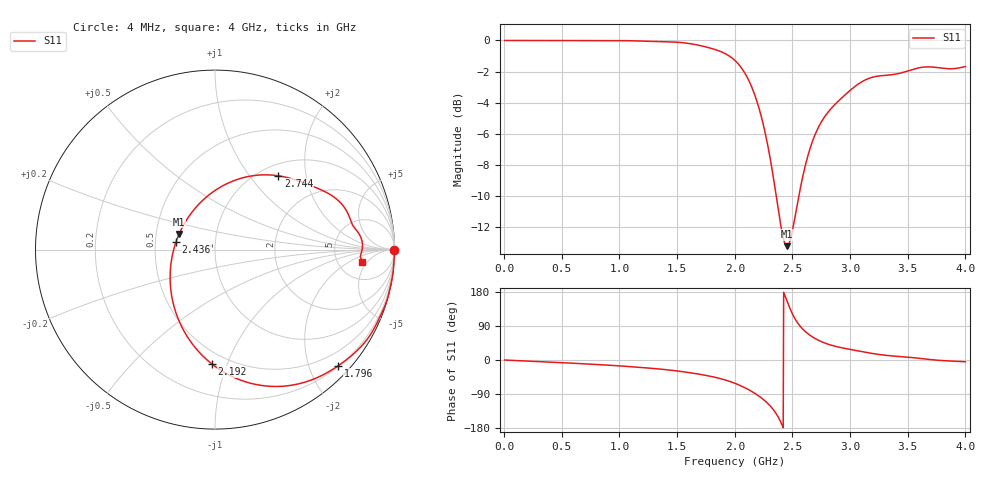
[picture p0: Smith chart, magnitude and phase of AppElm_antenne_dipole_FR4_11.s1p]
! TOUCHSTONE file generated by CST MICROWAVE STUDIO
! Date and time: Thu May 12 17:57:38 2022
! Project name: AppElm_antenne_dipole_FR4.cst
! Parameters = {L=38.8; e=0.035; f=2.45e+09; h=1.6; i=0.8; l1=4; lambda=122.449; ls=30; wl=1.7; ws=100}
! Header version: 2018
! Port assignment regex: !\s*Touchstone port\s*([0-9]+)\s*=\s*(CST MWS port|CST DS port)\s*([0-9]+|Zmin|Zmax)\s*\(\"(.*)\"\)(\s*mode\s*([0-9]+))?.*
! Touchstone port assignment:
! Touchstone port 1 = CST MWS port 1 ("")
# GHz S MA R 50
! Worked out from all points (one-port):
!   1000 points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, 4 MHz to 4 GHz, reference 50 ohm
!   lowest |S11| = -13.2 dB at 2.452 GHz (marker M1), VSWR 1.56, Z = 32.9 + j5.97 ohm
!   |S11| at or under -10 dB: 2.36 GHz to 2.556 GHz (196.2 MHz wide, 7.98 % of centre)
!   S11 on the Smith chart (normalised r, x): 4 MHz: open; 1.796 GHz: 0.21, -2.49; 2.192 GHz: 0.41, -0.88; 2.436 GHz: 0.64, +0.06; 2.744 GHz: 1.20, +1.40; 4 GHz: 8.82, -3.70
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0.004  0.9999 -0.1
0.504  1 -7.1
1.004  0.9988 -15.6
1.504  0.9867 -29.1
1.656  0.9703 -35.7
1.796  0.943 -43.4
1.908  0.9106 -51.9
2.004  0.8605 -61.8
2.104  0.7661 -75.7
2.192  0.6373 -91.6
2.26  0.5117 -107.3
2.32  0.3917 -125.6
2.376  0.288 -150.2
2.436  0.2216 169.4
2.452  0.218 156.7
2.504  0.2489 119.1
2.56  0.3224 91.8
2.616  0.4018 74.0
2.676  0.4762 60.5
2.744  0.5415 49.4
2.848  0.611 38.1
3.004  0.6928 27.8
3.196  0.7619 17.1
3.324  0.7733 11.9
3.504  0.7987 7.4
3.64  0.8211 3.1
3.764  0.8173 -0.7
4  0.8244 -4.7
